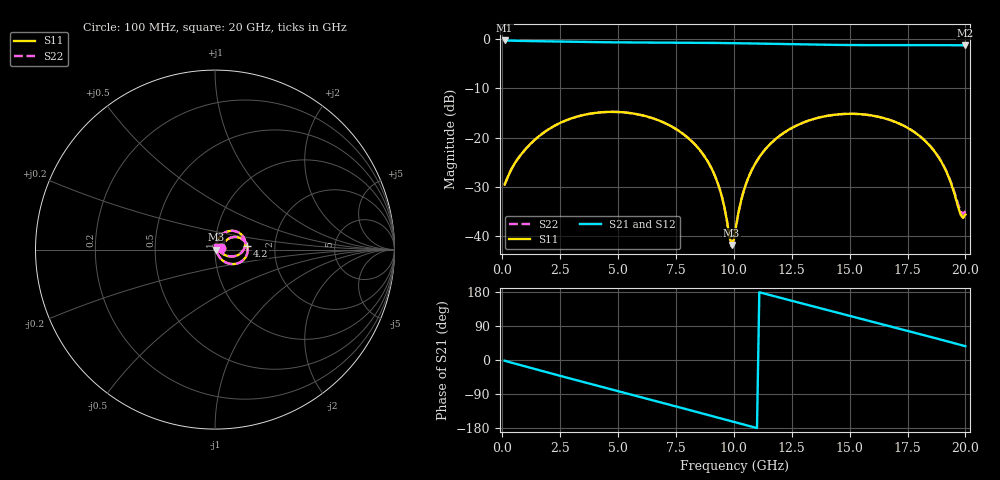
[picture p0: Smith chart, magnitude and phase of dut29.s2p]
! Touchstone file exported from HFSS 2026.1.0
!  File:  C:/ffzhzh/LocalFiles/Ansys_Project_Files/temp_train_TSV_RDL_29_1782963959_45568.aedt
!  Generated:  11:55:07 AM Jul  2, 2026
!  Design:  TSV_RDL
!  Project:  temp_train_TSV_RDL_29_1782963959_45568
! Variables:
!  h_bsmrdl = 4.27um
!  h_ox = 20um
!  h_rdl = 5um
!  h_sub = 95.14um
!  h_tmrdl = 3.91um
!  h_tsv = 95.14um
!  h_via = 3um
!  l_bsmrdl = 546.03um
!  l_sub = 5395.12um
!  l_tmrdl = 816.81um
!  m_sub = 200um
!  pitch = 21.19um
!  r_tsv = 5.61um
!  s_tmrdl = 10um
!  w_bsmrdl = 16.05um
!  w_sub = 500um
!  w_tmrdl = 13.88um
!  x_tsv_center1 = 823.75um
!  x_tsv_center2 = 1385.83um
!  x_tsv_center3 = 2216.52um
!  x_tsv_center4 = 2778.6um
!  x_tsv_center5 = 3609.29um
!  x_tsv_center6 = 4171.37um
# GHz S MA R 50.000000
! Terminal data exported
! Port[1] = TM_RDL1_1_T1
! Port[2] = TM_RDL5_1_T1
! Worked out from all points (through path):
!   200 points, 100 MHz to 20 GHz, reference 50 ohm
!   highest |S21| = -0.28 dB at 100 MHz (marker M1); lowest = -1.3 dB at 20 GHz (marker M2)
!   group delay of S21, straight-line fit = 44.7 ps
!   lowest |S11| = -41.8 dB at 9.9 GHz (marker M3), VSWR 1.02, Z = 50.8 + j0.00748 ohm
!   |S11| at or under -10 dB: start of sweep to end of sweep
!   |S22| runs from -42.1 to -14.8 dB; largest |S21 - S12| = 1.6e-14
!   S11 on the Smith chart (normalised r, x): 100 MHz: 1.07, +0.02; 4.2 GHz: 1.43, +0.06; 20 GHz: 1.02, +0.03
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0.1  0.03326 13.8  0.9679 -1.9  0.9679 -1.9  0.03326 13.8
! Gamma 0 0 0 0
! Port Impedance 50 0 50 0
0.6  0.05755 36.0  0.9595 -10.4  0.9595 -10.4  0.05755 36.0
1.4  0.09465 39.1  0.9525 -23.7  0.9525 -23.7  0.09464 39.1
3.5  0.1693 16.7  0.9344 -58.1  0.9344 -58.1  0.1693 16.7
4.2  0.1798 6.9  0.9295 -69.3  0.9295 -69.3  0.1797 6.9
5.5  0.1774 -12.0  0.9237 -90.2  0.9237 -90.2  0.1774 -12.0
6.8  0.1478 -31.1  0.9209 -111.1  0.9209 -111.1  0.1478 -31.1
8  0.1002 -48.1  0.9184 -130.7  0.9184 -130.7  0.1002 -48.1
8.9  0.05568 -58.4  0.9151 -145.4  0.9151 -145.4  0.05565 -58.5
9.5  0.02426 -56.6  0.9118 -155.2  0.9118 -155.2  0.02418 -57.0
9.9  0.008105 0.5  0.9092 -161.7  0.9092 -161.7  0.007882 0.5
10.1  0.01275 55.6  0.9077 -165.0  0.9077 -165.0  0.01261 56.5
10.5  0.0325 74.2  0.9045 -171.5  0.9045 -171.5  0.03245 74.7
11.1  0.0632 72.0  0.8991 178.7  0.8991 178.7  0.06317 72.4
12.1  0.1093 59.9  0.8896 162.7  0.8896 162.7  0.1092 60.2
13.4  0.1531 41.8  0.8782 142.0  0.8782 142.0  0.1531 42.1
15.1  0.1741 17.6  0.8692 115.3  0.8692 115.3  0.1741 17.9
16.7  0.1518 -4.9  0.8676 90.0  0.8676 90.0  0.1519 -4.4
18.6  0.07563 -27.6  0.8681 59.3  0.8681 59.3  0.07592 -26.5
19.2  0.04385 -28.1  0.8671 49.5  0.8671 49.5  0.04438 -26.2
19.8  0.01637 11.5  0.8649 39.7  0.8649 39.7  0.01777 13.2
20  0.01649 51.4  0.864 36.4  0.864 36.4  0.01787 49.6
